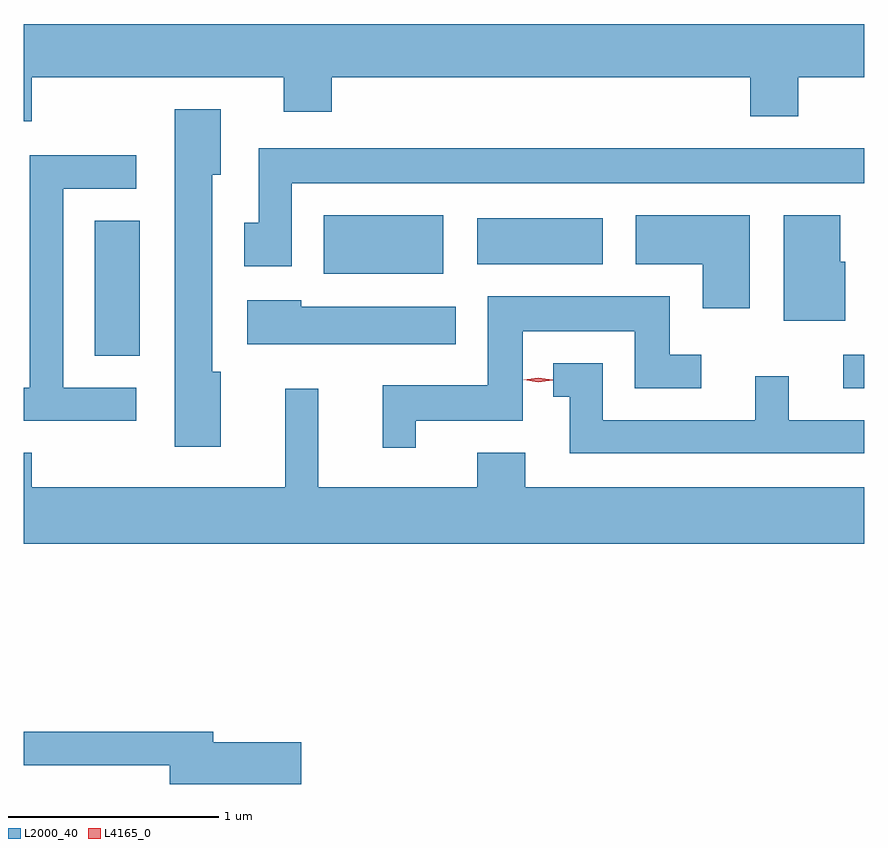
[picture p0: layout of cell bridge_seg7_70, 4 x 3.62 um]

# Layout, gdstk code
import gdstk
lib = gdstk.Library(unit=1e-6, precision=1e-09)
def R(c, l, rs):  # rectangles x0, y0, x1, y1
    for r in rs: c.add(gdstk.rectangle(r[:2], r[2:], *l))
def P(c, l, *ps):  # polygons
    for p in ps: c.add(gdstk.Polygon(p, *l))
L2000_40 = (2000, 40)
L4165_0 = (4165, 0)

bridge_seg7_70 = lib.new_cell('bridge_seg7_70')
R(bridge_seg7_70, L2000_40, [(1626.323,1741.696,1626.423,1741.854), (1622.761,1741.851,1622.974,1742.494), (1623.851,1742.241,1624.419,1742.519), (1624.581,1742.286,1625.179,1742.504)])
P(bridge_seg7_70, L2000_40, [(1622.459,1743.176),(1623.661,1743.176),(1623.661,1743.011),(1623.889,1743.011),(1623.889,1743.176),(1625.881,1743.176),(1625.881,1742.991),(1626.109,1742.991),(1626.109,1743.176),(1626.423,1743.176),(1626.423,1743.43),(1622.423,1743.43),(1622.423,1742.966),(1622.459,1742.966)],
  [(1623.359,1741.774),(1623.319,1741.774),(1623.319,1742.711),(1623.359,1742.711),(1623.359,1743.024),(1623.141,1743.024),(1623.141,1741.416),(1623.359,1741.416)],
  [(1623.699,1742.671),(1626.423,1742.671),(1626.423,1742.839),(1623.541,1742.839),(1623.541,1742.484),(1623.471,1742.484),(1623.471,1742.276),(1623.699,1742.276)],
  [(1622.958,1741.699),(1622.609,1741.699),(1622.609,1742.646),(1622.958,1742.646),(1622.958,1742.804),(1622.451,1742.804),(1622.451,1741.699),(1622.423,1741.699),(1622.423,1741.541),(1622.958,1741.541)],
  [(1626.334,1742.299),(1626.309,1742.299),(1626.309,1742.519),(1626.041,1742.519),(1626.041,1742.016),(1626.334,1742.016)],
  [(1625.879,1742.519),(1625.336,1742.519),(1625.336,1742.286),(1625.656,1742.286),(1625.656,1742.076),(1625.879,1742.076)],
  [(1624.289,1741.541),(1624.799,1741.541),(1624.799,1741.966),(1625.331,1741.966),(1625.331,1741.696),(1625.648,1741.696),(1625.648,1741.854),(1625.499,1741.854),(1625.499,1742.134),(1624.631,1742.134),(1624.631,1741.709),(1624.131,1741.709),(1624.131,1741.413),(1624.289,1741.413)],
  [(1624.479,1742.084),(1623.744,1742.084),(1623.744,1742.114),(1623.486,1742.114),(1623.486,1741.906),(1624.479,1741.906)],
  [(1626.423,1741.544),(1626.064,1741.544),(1626.064,1741.753),(1625.906,1741.753),(1625.906,1741.544),(1625.179,1741.544),(1625.179,1741.814),(1624.943,1741.814),(1624.943,1741.656),(1625.021,1741.656),(1625.021,1741.386),(1626.423,1741.386)],
  [(1626.423,1741.224),(1624.809,1741.224),(1624.809,1741.389),(1624.581,1741.389),(1624.581,1741.224),(1623.824,1741.224),(1623.824,1741.693),(1623.666,1741.693),(1623.666,1741.224),(1622.459,1741.224),(1622.459,1741.389),(1622.423,1741.389),(1622.423,1740.956),(1626.423,1740.956)],
  [(1623.744,1740.009),(1623.324,1740.009),(1623.324,1740.059),(1622.423,1740.059),(1622.423,1739.901),(1623.116,1739.901),(1623.116,1739.811),(1623.744,1739.811)])
P(bridge_seg7_70, L4165_0, [(1624.871,1741.725),(1624.802,1741.735),(1624.802,1741.735),(1624.802,1741.736),(1624.871,1741.745),(1624.941,1741.735),(1624.941,1741.735),(1624.941,1741.734)])

lib.write_gds('bridge_seg7_70.gds')
